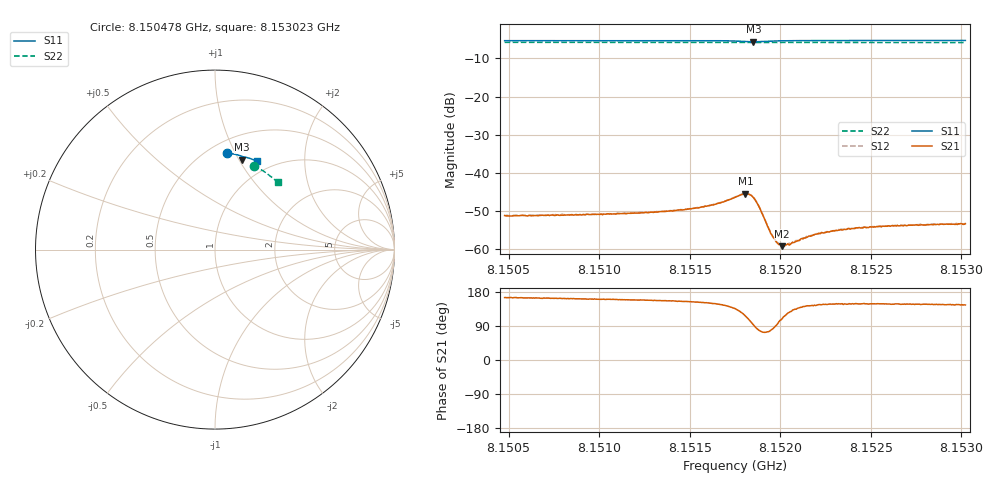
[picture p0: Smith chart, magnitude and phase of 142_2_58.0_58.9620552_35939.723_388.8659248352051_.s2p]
#  HZ  S  RI  R  50.00
! Rohde & Schwarz Vector Network Analyzer
! Rohde-Schwarz,ZNB20-2Port,1311601062101988,3.16
! Created: UTC 3/21/2024, 12:56:40 AM
! freq[Hz]  re:S11  im:S11  re:S21  im:S21  re:S12  im:S12  re:S22  im:S22
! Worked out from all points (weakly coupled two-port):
!   401 points, 8.150478 GHz to 8.153023 GHz, reference 50 ohm
!   highest |S21| = -45.57 dB at 8.151808 GHz (marker M1); lowest = -59.3 dB at 8.152011 GHz (marker M2)
!   lowest |S11| = -5.6 dB at 8.151852 GHz (marker M3), VSWR 3.20, Z = 37.4 + j51.6 ohm
!   |S11| at or under -10 dB: nowhere
!   |S22| runs from -5.8 to -5.8 dB; largest |S21 - S12| = 0.00013
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8.1504781e9  0.0654 0.5376  -0.00263 0.000721  -0.00263 0.000739  0.2164 0.4673
8.1509043e9  0.0956 0.5336  -0.00262 0.000886  -0.00268 0.000952  0.2409 0.4546
8.1513305e9  0.1258 0.5277  -0.00283 0.00119  -0.00283 0.00125  0.2647 0.4407
8.1514705e9  0.1363 0.5251  -0.00294 0.00141  -0.00297 0.00148  0.2722 0.4357
8.1515659e9  0.1436 0.5228  -0.0031 0.00167  -0.00311 0.00172  0.2773 0.4324
8.1516613e9  0.1517 0.5191  -0.00334 0.00215  -0.00329 0.00222  0.2824 0.4287
8.1517504e9  0.1591 0.5121  -0.00339 0.0033  -0.00336 0.00339  0.2873 0.4254
8.1518076e9  0.1594 0.5035  -0.00233 0.00473  -0.00229 0.00478  0.29 0.4229
8.1518331e9  0.1558 0.5005  -0.00118 0.00498  -0.0011 0.00502  0.2909 0.4219
8.1518522e9  0.1521 0.5007  -0.000191 0.00469  -0.000141 0.00472  0.292 0.4214
8.1518776e9  0.1489 0.5041  0.000626 0.00372  0.000663 0.00374  0.2929 0.4207
8.1519412e9  0.1523 0.5129  0.000415 0.00167  0.000451 0.00171  0.2965 0.4186
8.1519667e9  0.1551 0.5145  9.47e-05 0.00138  0.000129 0.00134  0.2978 0.4177
8.1519857e9  0.1573 0.5152  -0.000113 0.00117  -0.000104 0.0012  0.2989 0.417
8.1520112e9  0.1601 0.5155  -0.000356 0.00102  -0.000348 0.00104  0.3001 0.4162
8.1520621e9  0.1653 0.5154  -0.000736 0.000924  -0.000741 0.000913  0.3028 0.4142
8.1521766e9  0.1749 0.5139  -0.0012 0.000868  -0.00121 0.000899  0.3087 0.4096
8.1522465e9  0.1803 0.5125  -0.00136 0.000892  -0.00136 0.000923  0.3123 0.4067
8.1523356e9  0.1868 0.5107  -0.00151 0.000948  -0.00152 0.000967  0.3167 0.4031
8.152431e9  0.1936 0.5085  -0.0016 0.001  -0.00159 0.00101  0.3214 0.3992
8.1526028e9  0.2053 0.5043  -0.00169 0.00106  -0.00169 0.00108  0.3297 0.392
8.1530226e9  0.2329 0.493  -0.00175 0.00122  -0.00177 0.00122  0.3494 0.3741
